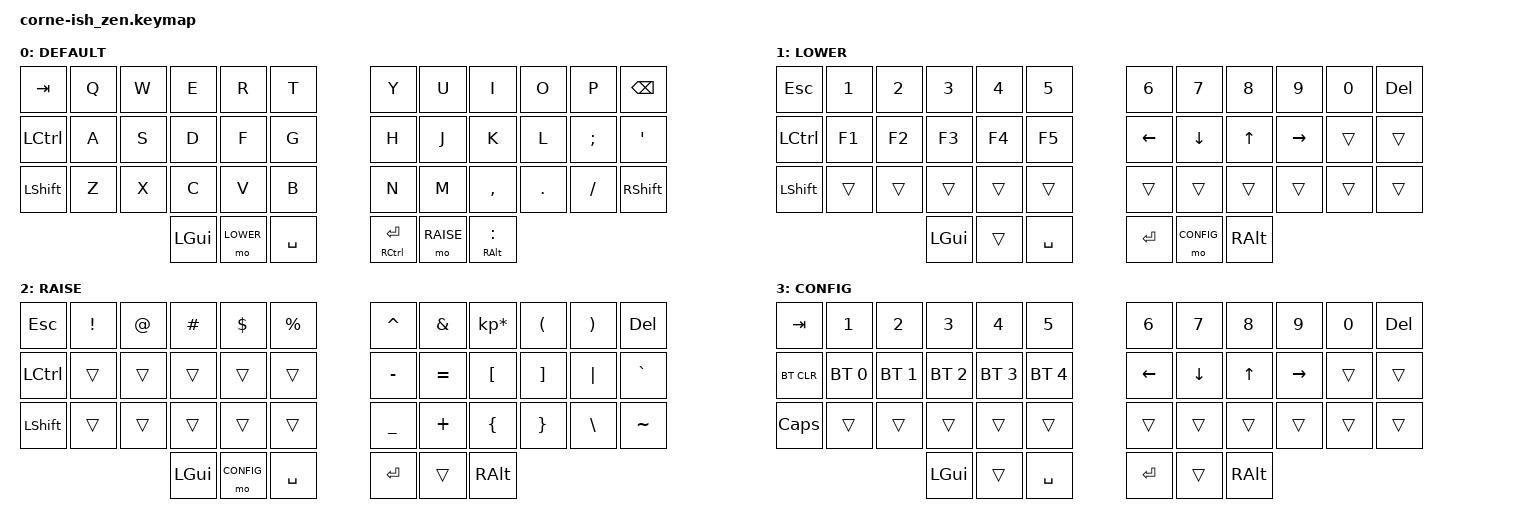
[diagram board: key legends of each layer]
/*
*
* Copyright (c) 2021 Darryl deHaan
* SPDX-License-Identifier: MIT
*
*/
#include <behaviors.dtsi>
#include <dt-bindings/zmk/keys.h>
#include <dt-bindings/zmk/bt.h>

#define DEFAULT 0
#define LOWER 1
#define RAISE 2
#define CONFIG 3

/ {
        keymap {
                compatible = "zmk,keymap";

                default_layer {
                        label = "DEFAULT";
// -----------------------------------------------------------------------------------------
// |  TAB |  Q  |  W  |  E  |  R  |  T  |   |  Y  |  U   |  I  |  O  |  P  | BKSP |
// | CTRL |  A  |  S  |  D  |  F  |  G  |   |  H  |  J   |  K  |  L  |  ;  |  '   |
// | SHFT |  Z  |  X  |  C  |  V  |  B  |   |  N  |  M   |  ,  |  .  |  /  | RSHFT|
//                    | GUI | LWR | SPC |   | ENT*| RSE  | ALT*|
                        bindings = <
   &kp TAB   &kp Q &kp W &kp E &kp R &kp T   &kp Y &kp U  &kp I     &kp O   &kp P    &kp BSPC
   &kp LCTRL &kp A &kp S &kp D &kp F &kp G   &kp H &kp J  &kp K     &kp L   &kp SEMI &kp SQT
   &kp LSHFT &kp Z &kp X &kp C &kp V &kp B   &kp N &kp M  &kp COMMA &kp DOT &kp FSLH &kp RSHFT
                  &kp LGUI &mo LOWER &kp SPACE   &mt RCTRL RET &mo RAISE &mt RALT COLON 
                        >;
                };
                lower_layer {
                        label = "LOWER";
// -----------------------------------------------------------------------------------------
// |  ESC |  1  |  2  |  3  |  4  |  5  |   |  6  |  7  |  8  |  9  |  0  | DEL  |
// | CTRL |  F1 |  F2 | F3  | F4  |  F5 |   | LFT | DWN |  UP | RGT |     |      |
// | SHFT |     |     |     |     |     |   |     |     |     |     |     |      |
//                    | GUI |     | SPC |   | ENT | CFG | ALT |
                        bindings = <
   &kp ESC    &kp N1       &kp N2       &kp N3       &kp N4       &kp N5         &kp N6   &kp N7   &kp N8 &kp N9    &kp N0 &kp DEL
   &kp LCTRL  &kp F1       &kp F2       &kp F3       &kp F4       &kp F5         &kp LEFT &kp DOWN &kp UP &kp RIGHT &trans &trans
   &kp LSHFT  &trans       &trans       &trans       &trans       &trans         &trans   &trans   &trans &trans    &trans &trans
                           &kp LGUI     &trans       &kp SPACE    &kp RET        &mo CONFIG   &kp RALT
                        >;
                };
                raise_layer {
                        label = "RAISE";
// -----------------------------------------------------------------------------------------
// |  ESC |  !  |  @  |  #  |  $  |  %  |   |  ^  |  &  |  *  |  (  |  )  | DEL  |
// | CTRL |     |     |     |     |     |   |  -  |  =  |  [  |  ]  | "|" |  `   |
// | SHFT |     |     |     |     |     |   |  _  |  +  |  {  |  }  |  \  |  ~   |
//                    | GUI | CFG | SPC |   | ENT |     | ALT |
                        bindings = <
   &kp  ESC  &kp EXCL &kp AT &kp HASH &kp DLLR &kp PRCNT   &kp CARET &kp AMPS  &kp KP_MULTIPLY &kp LPAR &kp RPAR &kp DEL
   &kp LCTRL &trans   &trans &trans   &trans   &trans      &kp MINUS &kp EQUAL &kp LBKT        &kp RBKT &kp PIPE &kp GRAVE
   &kp LSHFT &trans   &trans &trans   &trans   &trans      &kp UNDER &kp PLUS  &kp LBRC        &kp RBRC &kp BSLH &kp TILDE
                    	     &kp LGUI   &mo CONFIG   &kp SPACE   &kp RET   &trans    &kp RALT
                        >;
                };
                config_layer {
                        label = "CONFIG";
// -----------------------------------------------------------------------------------------
// |  TAB |  1  |  2  |  3  |  4  |  5  |   |  6  |  7  |  8  |  9  |  0  | DEL  |
// | BTCLR| BT1 | BT2 | BT3 | BT4 | BT5 |   | LFT | DWN |  UP | RGT |     |      |
// | CAPS |     |     |     |     |     |   |     |     |     |     |     |      |
//                    | GUI |     | SPC |   | ENT |     | ALT |
                        bindings = <
   &kp TAB    &kp N1       &kp N2       &kp N3       &kp N4       &kp N5         &kp N6   &kp N7   &kp N8 &kp N9    &kp N0 &kp DEL
   &bt BT_CLR &bt BT_SEL 0 &bt BT_SEL 1 &bt BT_SEL 2 &bt BT_SEL 3 &bt BT_SEL 4   &kp LEFT &kp DOWN &kp UP &kp RIGHT &trans &trans
   &kp CAPS   &trans       &trans       &trans       &trans       &trans         &trans   &trans   &trans &trans    &trans &trans
                           &kp LGUI     &trans       &kp SPACE      &kp RET  &trans   &kp RALT
                        >;
                };
        };
};
